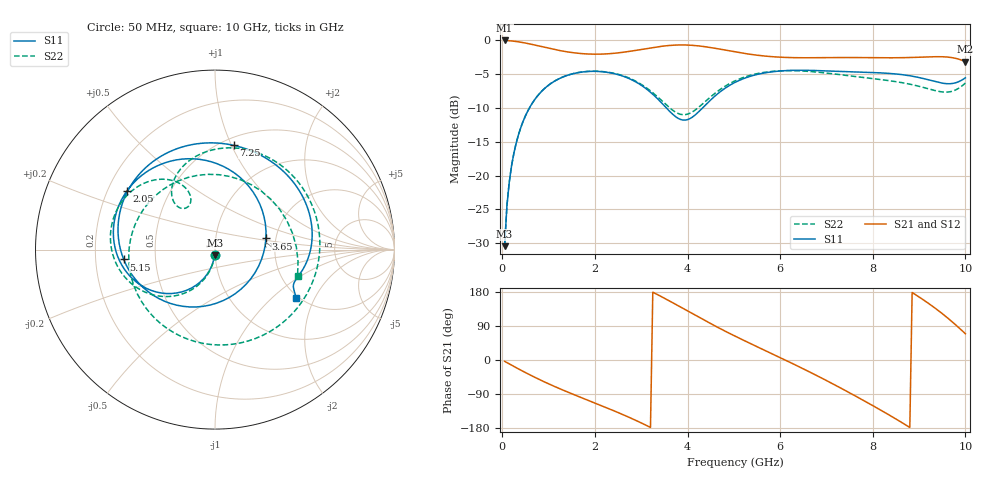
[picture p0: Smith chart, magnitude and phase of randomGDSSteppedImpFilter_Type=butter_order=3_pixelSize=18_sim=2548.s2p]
! freq	dB(S11)	phase(S11)	dB(S12)	phase(S12)
!  dB(S21)	phase(S21)	dB(S22)	phase(S22)
!S-par simulation data
#  GHz  S  DB  R 50
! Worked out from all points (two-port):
!   200 points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, 50 MHz to 10 GHz, reference 50 ohm
!   highest |S21| = -0.01 dB at 50 MHz (marker M1); lowest = -3.2 dB at 10 GHz (marker M2)
!   |S21| within 3 dB of the highest: start of sweep to 9.949 GHz
!   lowest |S11| = -30.5 dB at 50 MHz (marker M3), VSWR 1.06, Z = 49.7 - j2.98 ohm
!   |S11| at or under -10 dB: start of sweep to 586.5 MHz; 3.544 GHz to 4.324 GHz (780.5 MHz wide, 19.8 % of centre)
!   |S22| runs from -30.5 to -4.5 dB; largest |S21 - S12| = 0
!   S11 on the Smith chart (normalised r, x): 50 MHz: 0.99, -0.06; 2.05 GHz: 0.28, +0.28; 3.65 GHz: 1.77, +0.24; 5.15 GHz: 0.32, -0.05; 7.25 GHz: 0.57, +1.02; 10 GHz: 1.93, -1.46
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0.05  -30.45 -93.6  -0.01 -3.5  -0.01 -3.5  -30.45 -93.4
0.1  -24.47 -97.3  -0.03 -6.9  -0.03 -6.9  -24.47 -96.8
0.2  -18.57 -104.5  -0.08 -13.6  -0.08 -13.6  -18.56 -103.5
0.5  -11.17 -124.9  -0.39 -33.2  -0.39 -33.2  -11.16 -122.4
1.05  -6.38 -158.9  -1.23 -65.6  -1.23 -65.6  -6.36 -153.3
1.75  -4.66 162.6  -1.97 -101.4  -1.97 -101.4  -4.64 173.9
2.05  -4.59 146.3  -2.04 -116.0  -2.04 -116.0  -4.56 161.1
2.75  -5.69 103.3  -1.62 -151.9  -1.62 -151.9  -5.60 133.1
3.4  -8.97 45.6  -0.91 169.5  -0.91 169.5  -8.65 115.0
3.65  -10.74 12.3  -0.73 153.1  -0.73 153.1  -10.18 115.7
4.35  -9.82 -101.7  -0.91 105.8  -0.91 105.8  -9.25 131.0
5.05  -6.13 -167.0  -1.73 61.6  -1.73 61.6  -5.91 108.7
5.15  -5.82 -173.9  -1.84 55.6  -1.84 55.6  -5.63 103.9
5.9  -4.59 142.5  -2.45 12.0  -2.45 12.0  -4.55 61.7
6.7  -4.45 104.2  -2.57 -35.5  -2.57 -35.5  -4.63 6.1
7.25  -4.58 79.9  -2.54 -70.2  -2.54 -70.2  -5.03 -39.0
7.8  -4.71 55.6  -2.55 -106.7  -2.55 -106.7  -5.49 -88.3
8.35  -4.88 30.0  -2.57 -144.9  -2.57 -144.9  -5.96 -140.4
8.9  -5.36 3.8  -2.52 174.3  -2.52 174.3  -6.63 162.1
9.4  -6.18 -16.6  -2.41 131.9  -2.41 131.9  -7.51 95.2
9.7  -6.39 -24.1  -2.54 102.3  -2.54 102.3  -7.55 41.8
10  -5.54 -31.0  -3.17 69.3  -3.17 69.3  -6.31 -17.9
